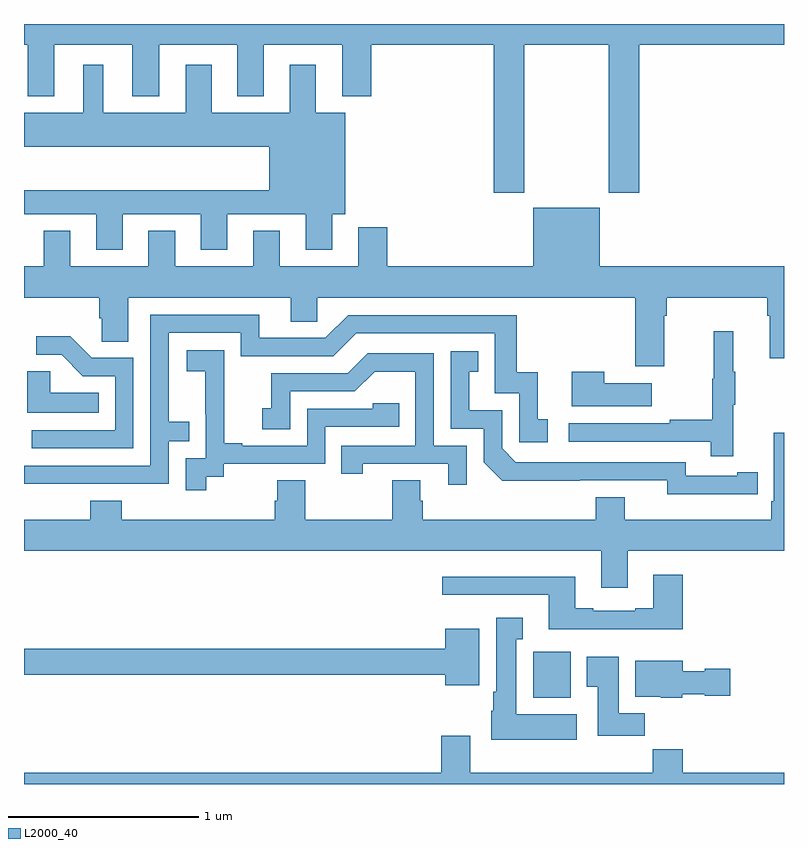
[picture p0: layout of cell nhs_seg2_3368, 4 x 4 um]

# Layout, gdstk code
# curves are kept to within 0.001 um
import gdstk
lib = gdstk.Library(unit=1e-6, precision=1e-09)
def R(c, l, rs):  # rectangles x0, y0, x1, y1
    for r in rs: c.add(gdstk.rectangle(r[:2], r[2:], *l))
def P(c, l, *ps):  # polygons
    for p in ps: c.add(gdstk.Polygon(p, *l))
L2000_40 = (2000, 40)

nhs_seg2_3368 = lib.new_cell('nhs_seg2_3368')
R(nhs_seg2_3368, L2000_40, [(291.68,588.254,291.877,588.496)])
P(nhs_seg2_3368, L2000_40, [(291.633,591.692),(292.078,591.692),(292.078,590.913),(292.238,590.913),(292.238,591.692),(293,591.692),(293,591.8),(289,591.8),(289,591.692),(289.019,591.692),(289.019,591.419),(289.159,591.419),(289.159,591.692),(289.571,591.692),(289.571,591.419),(289.711,591.419),(289.711,591.692),(290.123,591.692),(290.123,591.419),(290.263,591.419),(290.263,591.692),(290.675,591.692),(290.675,591.419),(290.828,591.419),(290.828,591.692),(291.473,591.692),(291.473,590.913),(291.633,590.913)],
  [(289.519,590.798),(289.931,590.798),(289.931,590.613),(290.071,590.613),(290.071,590.798),(290.483,590.798),(290.483,590.613),(290.623,590.613),(290.623,590.798),(290.692,590.798),(290.692,591.334),(290.536,591.334),(290.536,591.586),(290.399,591.586),(290.399,591.334),(289.987,591.334),(289.987,591.586),(289.85,591.586),(289.85,591.334),(289.417,591.334),(289.417,591.586),(289.313,591.586),(289.313,591.334),(289,591.334),(289,591.155),(290.291,591.155),(290.291,590.926),(289,590.926),(289,590.798),(289.379,590.798),(289.379,590.613),(289.519,590.613)],
  [(292.369,590.264),(292.382,590.264),(292.382,590.36),(292.913,590.36),(292.913,590.264),(292.925,590.264),(292.925,590.04),(293,590.04),(293,590.524),(292.03,590.524),(292.03,590.833),(291.68,590.833),(291.68,590.524),(290.912,590.524),(290.912,590.731),(290.759,590.731),(290.759,590.524),(290.347,590.524),(290.347,590.713),(290.207,590.713),(290.207,590.524),(289.795,590.524),(289.795,590.713),(289.655,590.713),(289.655,590.524),(289.243,590.524),(289.243,590.713),(289.103,590.713),(289.103,590.524),(289,590.524),(289,590.36),(289.397,590.36),(289.397,590.251),(289.41,590.251),(289.41,590.128),(289.549,590.128),(289.549,590.36),(290.405,590.36),(290.405,590.233),(290.544,590.233),(290.544,590.36),(292.217,590.36),(292.217,589.998),(292.369,589.998)],
  [(289.265,589.38),(289.761,589.38),(289.761,589.605),(289.871,589.605),(289.871,589.706),(289.761,589.706),(289.761,590.175),(290.142,590.175),(290.142,590.052),(290.628,590.052),(290.748,590.172),(291.477,590.172),(291.477,589.857),(291.606,589.857),(291.606,589.599),(291.757,589.599),(291.757,589.719),(291.704,589.719),(291.704,589.966),(291.593,589.966),(291.593,590.268),(290.706,590.268),(290.586,590.148),(290.239,590.148),(290.239,590.271),(289.665,590.271),(289.665,589.476),(289,589.476),(289,589.379)],
  [(292.733,589.795),(292.744,589.795),(292.744,589.969),(292.733,589.969),(292.733,590.182),(292.63,590.182),(292.63,589.932),(292.623,589.932),(292.623,589.718),(292.399,589.718),(292.399,589.698),(291.867,589.698),(291.867,589.602),(292.615,589.602),(292.615,589.524),(292.733,589.524)],
  [(289.575,590.043),(289.356,590.043),(289.243,590.156),(289.065,590.156),(289.065,590.058),(289.199,590.058),(289.31,589.947),(289.479,589.947),(289.479,589.662),(289.041,589.662),(289.041,589.566),(289.575,589.566)],
  [(289.96,589.417),(290.052,589.417),(290.052,589.485),(290.586,589.485),(290.586,589.68),(290.975,589.68),(290.975,589.803),(290.835,589.803),(290.835,589.776),(290.49,589.776),(290.49,589.581),(290.149,589.581),(290.149,589.594),(290.054,589.594),(290.054,589.877),(290.055,589.877),(290.055,590.083),(289.857,590.083),(289.857,589.973),(289.955,589.973),(289.955,589.745),(289.956,589.745),(289.956,589.515),(289.851,589.515),(289.851,589.347),(289.96,589.347)],
  [(292.754,589.326),(292.862,589.326),(292.862,589.442),(292.754,589.442),(292.754,589.422),(292.482,589.422),(292.482,589.494),(291.588,589.494),(291.516,589.566),(291.516,589.767),(291.343,589.767),(291.343,589.971),(291.392,589.971),(291.392,590.077),(291.246,590.077),(291.246,589.671),(291.42,589.671),(291.42,589.494),(291.518,589.397),(292.386,589.398),(292.386,589.325)],
  [(291.33,589.581),(291.156,589.581),(291.156,590.067),(290.81,590.067),(290.705,589.962),(290.302,589.962),(290.302,589.777),(290.253,589.777),(290.253,589.668),(290.4,589.668),(290.4,589.866),(290.742,589.866),(290.846,589.97),(291.06,589.97),(291.06,589.581),(290.671,589.581),(290.671,589.434),(290.782,589.434),(290.782,589.485),(291.233,589.485),(291.233,589.374),(291.33,589.374)],
  [(289.394,589.858),(289.137,589.858),(289.137,589.973),(289.016,589.973),(289.016,589.754),(289.394,589.754)],
  [(292.303,589.909),(292.055,589.909),(292.055,589.969),(291.884,589.969),(291.884,589.787),(292.303,589.787)],
  [(292.037,588.834),(292.177,588.834),(292.177,589.028),(293,589.028),(293,589.648),(292.947,589.648),(292.947,589.288),(292.934,589.288),(292.934,589.192),(292.162,589.192),(292.162,589.309),(292.01,589.309),(292.01,589.192),(291.098,589.192),(291.098,589.29),(291.085,589.29),(291.085,589.4),(290.938,589.4),(290.938,589.192),(290.481,589.192),(290.481,589.4),(290.333,589.4),(290.333,589.29),(290.321,589.29),(290.321,589.192),(289.514,589.192),(289.514,589.291),(289.349,589.291),(289.349,589.192),(289,589.192),(289,589.028),(292.037,589.028)],
  [(292.466,588.901),(292.313,588.901),(292.313,588.724),(292.217,588.724),(292.217,588.711),(291.997,588.711),(291.997,588.724),(291.901,588.724),(291.901,588.892),(291.201,588.892),(291.201,588.795),(291.761,588.795),(291.761,588.614),(292.466,588.614)],
  [(291.91,588.166),(291.592,588.166),(291.592,588.563),(291.625,588.563),(291.625,588.676),(291.485,588.676),(291.485,588.286),(291.47,588.286),(291.47,588.186),(291.458,588.186),(291.458,588.032),(291.91,588.032)],
  [(291.397,588.616),(291.218,588.616),(291.218,588.512),(289,588.512),(289,588.376),(291.218,588.376),(291.218,588.32),(291.397,588.32)],
  [(292.268,588.172),(292.129,588.172),(292.129,588.469),(291.962,588.469),(291.962,588.313),(292.019,588.313),(292.019,588.054),(292.268,588.054)],
  [(292.464,588.272),(292.584,588.272),(292.584,588.265),(292.717,588.265),(292.717,588.407),(292.584,588.407),(292.584,588.394),(292.468,588.394),(292.468,588.448),(292.217,588.448),(292.217,588.26),(292.35,588.26),(292.35,588.254),(292.464,588.254)],
  [(293,587.86),(292.466,587.86),(292.466,587.984),(292.309,587.984),(292.309,587.86),(291.349,587.86),(291.349,588.055),(291.197,588.055),(291.197,587.86),(289,587.86),(289,587.8),(293,587.8)])

lib.write_gds('nhs_seg2_3368.gds')
